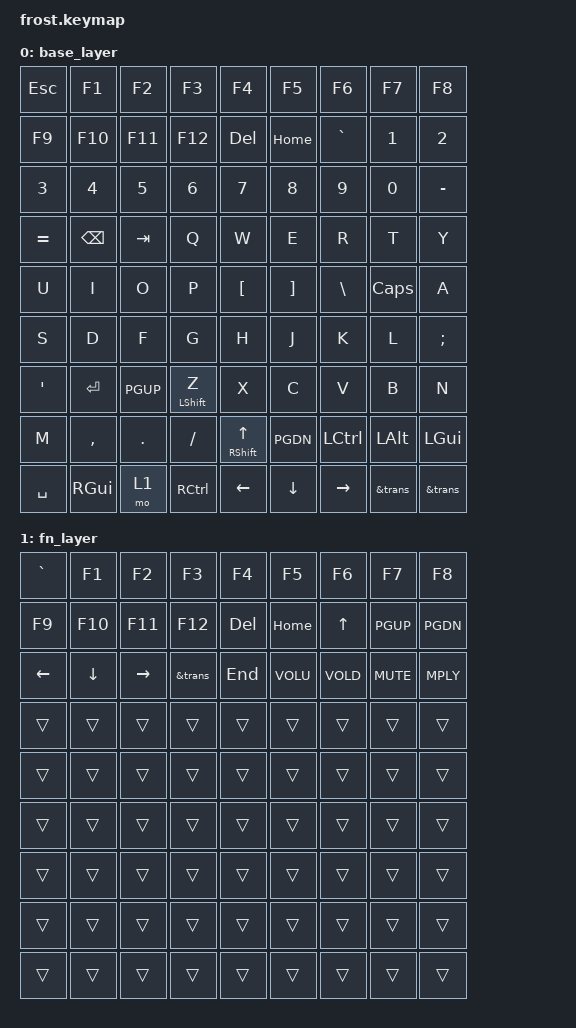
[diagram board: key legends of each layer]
#include <behaviors.dtsi>
#include <dt-bindings/zmk/keys.h>
#include <dt-bindings/zmk/bt.h>

&lt {
    tapping-term-ms = <200>;
    quick-tap-ms = <150>;
    flavor = "tap-preferred";
};

&mt {
    tapping-term-ms = <250>;
    flavor = "tap-preferred";
};

/ {
    combos {
        compatible = "zmk,combos";

        comma_semicolon {
            key-positions = <30 38>;  
            bindings = <&kp COMMA &kp SEMI>;
        };

        dot_colon {
            key-positions = <31 39>; 
            bindings = <&kp DOT &kp COLON>;
        };

        shift_cap {
            key-positions = <7 16>;    
            bindings = <&kp LEFT_SHIFT &caps_word>;
        };
    };


    keymap {
        compatible = "zmk,keymap";

        base_layer {
            bindings = <
                /* Row 1 */
                &kp ESC   &kp F1    &kp F2    &kp F3    &kp F4    &kp F5    &kp F6    &kp F7    &kp F8
                /* Row 2 */
                &kp F9    &kp F10   &kp F11   &kp F12   &kp DEL   &kp HOME  &kp GRAVE &kp N1    &kp N2
                /* Row 3 */
                &kp N3    &kp N4    &kp N5    &kp N6    &kp N7    &kp N8    &kp N9    &kp N0    &kp MINUS
                /* Row 4 */
                &kp EQUAL &kp BSPC  &kp TAB   &kp Q     &kp W     &kp E     &kp R     &kp T     &kp Y
                /* Row 5 */
                &kp U     &kp I     &kp O     &kp P     &kp LBKT  &kp RBKT  &kp BSLH  &kp CAPS  &kp A
                /* Row 6 */
                &kp S     &kp D     &kp F     &kp G     &kp H     &kp J     &kp K     &kp L     &kp SEMI
                /* Row 7 */
                &kp SQT   &kp ENTER &kp PGUP  &mt LEFT_SHIFT Z  &kp X     &kp C     &kp V     &kp B     &kp N
                /* Row 8 */
                &kp M     &kp COMMA &kp DOT   &kp SLASH &mt RIGHT_SHIFT UP  &kp PGDN  &kp LCTRL &kp LALT  &kp LGUI
                /* Row 9 */
                &kp SPACE &kp RGUI  &mo 1     &kp RCTRL &kp LEFT  &kp DOWN  &kp RIGHT &&trans   &&trans
            >;
        };

        fn_layer {
            bindings = <
                /* Row 1 */
                &kp GRAVE &kp F1    &kp F2    &kp F3    &kp F4    &kp F5    &kp F6    &kp F7    &kp F8
                /* Row 2 */
                &kp F9    &kp F10   &kp F11   &kp F12   &kp DEL   &kp HOME  &kp UP    &kp PGUP  &kp PGDN
                /* Row 3 */
                &kp LEFT  &kp DOWN  &kp RIGHT &&trans   &kp END   &kp VOLU  &kp VOLD  &kp MUTE  &kp MPLY
                /* Row 4 */
                &trans   &trans    &trans    &trans    &trans    &trans    &trans    &trans    &trans
                /* Row 5 */
                &trans   &trans    &trans    &trans    &trans    &trans    &trans    &trans    &trans
                /* Row 6 */
                &trans   &trans    &trans    &trans    &trans    &trans    &trans    &trans    &trans
                /* Row 7 */
                &trans   &trans    &trans    &trans    &trans    &trans    &trans    &trans    &trans
                /* Row 8 */
                &trans   &trans    &trans    &trans    &trans    &trans    &trans    &trans    &trans
                /* Row 9 */
                &trans   &trans    &trans    &trans    &trans    &trans    &trans    &trans    &trans
            >;
        };
    };      
};  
